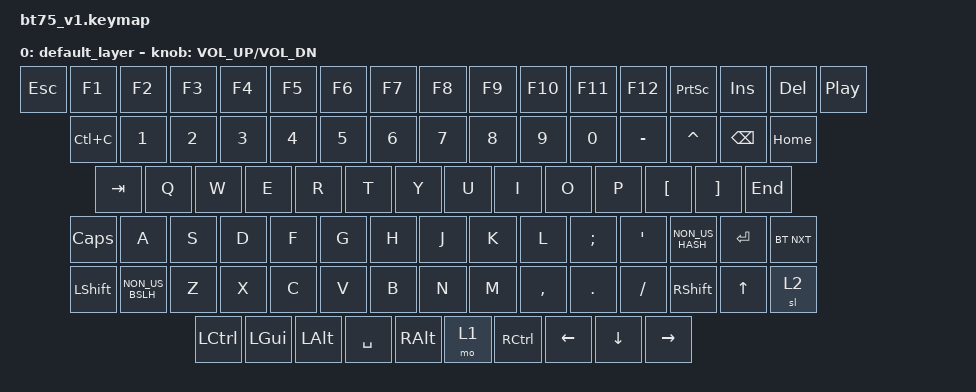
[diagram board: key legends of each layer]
#include <behaviors.dtsi>
#include <dt-bindings/zmk/keys.h>
#include <dt-bindings/zmk/bt.h>
#include <dt-bindings/zmk/rgb.h>
#include <dt-bindings/zmk/backlight.h>


/ {
  chosen {
    zmk,physical-layout = &layout_75_iso;
  };

  keymap {
    compatible = "zmk,keymap";

    default_layer {
        // ------------------------------------------------------------------------------------------------
        // | ESC | F1  | F2  | F3  | F4  | F5  | F6  | F7  | F9  | F9  | F10 | F11 | F12 |PSCRN|HOME| END |
        // |GRAVE|  1  |  2  |  3  |  4  |  5  |  6  |  7  |  8  |  9  |  0  |  -  |  =  |   BSPC   | DEL |
        // | TAB   |  Q  |  W  |  E  |  R  |  T  |  Y  |  U  |  I  |  O  |  P  |  [  |  ]  |        | INS |
        // | CAPS   |  A  |  S  |  D  |  F  |  G  |  H  |  J  |  K  |  L  |  ;  |  '  |  #  | ENTER | PGUP|
        // |SHIFT |  \  |  Z  |  X  |  C  |  V  |  B  |  N  |  M  |  ,  |  .  |  /  |  SHIFT  | UP  | PGDN|
        // |  CTL  |  WIN  |  ALT  |             SPACE                | ALT |  1  |RCTRL| LEFT| DOWN|RIGHT|
        // ------------------------------------------------------------------------------------------------
      bindings = <
        &kp ESC &kp F1 &kp F2 &kp F3 &kp F4 &kp F5 &kp F6 &kp F7 &kp  F8   &kp  F9 &kp  F10  &kp F11 &kp F12   &kp PSCRN &kp INSERT &kp DELETE &kp C_PLAY_PAUSE
        &kp LC(C) &kp N1 &kp N2 &kp N3 &kp N4 &kp N5 &kp N6 &kp N7 &kp  N8   &kp  N9   &kp N0 &kp MINUS &kp CARET &kp BSPC &kp HOME
        &kp TAB   &kp Q  &kp W  &kp E  &kp R  &kp T  &kp Y  &kp U  &kp  I    &kp  O  &kp  P   &kp LBKT &kp RBKT          &kp END
        &kp CLCK   &kp A  &kp S  &kp D  &kp F  &kp G  &kp H  &kp J  &kp  K    &kp  L  &kp SEMI &kp APOSTROPHE &kp NON_US_HASH &kp ENTER &bt BT_NXT
        &kp LSHFT &kp NON_US_BSLH &kp Z  &kp X  &kp C  &kp V  &kp B  &kp N  &kp M  &kp COMMA &kp DOT &kp FSLH   &kp RSHFT   &kp UP &sl 2
        &kp LCTRL &kp LGUI &kp LALT            &kp SPACE                   &kp RALT  &mo 1 &kp RCTRL &kp LEFT &kp DOWN &kp RIGHT
      >;
      sensor-bindings = <&inc_dec_kp C_VOL_UP C_VOL_DN>;
    };
    /*
    raise {
        // --------------------------------------------------------------------------------------------------
        // | ESC | F1  | F2  | F3  | F4  | F5  | F6  | F7  | F9  | F9  | F10 | F11 | F12 |PSCRN|HOME| END |
        // |GRAVE|  1  |  2  |  3  |  4  |  5  |  6  |  7  |  8  |  9  |  0  |  -  |  =  |  BL_TOG  |RGB_TOG|
        // | TAB  |  Q  |  W  |  E  | HUI | HUD |  Y  |  U  |  I  |  O  |  P  | SLCK|  ]  |          | P_BRK|
        // | CAPS  |  A  |  S  |  D  | BRI | BRD |  H  |  J  |  K  |  L  |  ;  |  '  |RESET|   BOOT  | PG_UP|
        // |SHIFT |  \  |VOLDN|VOLUP| MUTE|BLINC|BLDEC|  N  |  M  |  ,  |  .  |  /  |  SHIFT  | UP   | PG_DN|
        // | BT_PRV| BT_NXT|  ALT  |            SPACE               | ALT |  1  | CTRL | LEFT | DOWN |BT_CLR|
        // --------------------------------------------------------------------------------------------------
      bindings = <
        &trans &trans &trans &trans &trans &trans &trans &trans &trans &trans &trans &trans &trans &trans &trans &trans
        &trans &trans &trans &trans &trans &trans &trans &trans &trans &trans &trans &trans &trans &bl BL_TOG &rgb_ug RGB_TOG
        &trans &trans &trans &trans &rgb_ug RGB_HUI &rgb_ug RGB_HUD &trans &trans &trans &trans &trans &kp SLCK &trans &kp PAUSE_BREAK
        &trans   &trans &trans &trans &rgb_ug RGB_BRI &rgb_ug RGB_BRD &trans &trans &trans &trans &trans  &trans  &sys_reset  &bootloader &trans
        &trans &trans &kp C_VOL_DN &kp C_VOL_UP &kp C_MUTE &bl BL_INC &bl BL_DEC &trans &trans &trans &trans &trans  &trans &trans &trans
        &bt BT_PRV &bt BT_NXT  &trans              &trans                            &trans   &trans   &trans &trans &trans &bt BT_CLR
      >;
      sensor-bindings = <&inc_dec_kp C_VOL_UP C_VOL_DN>;
    };
    */
  };
};
